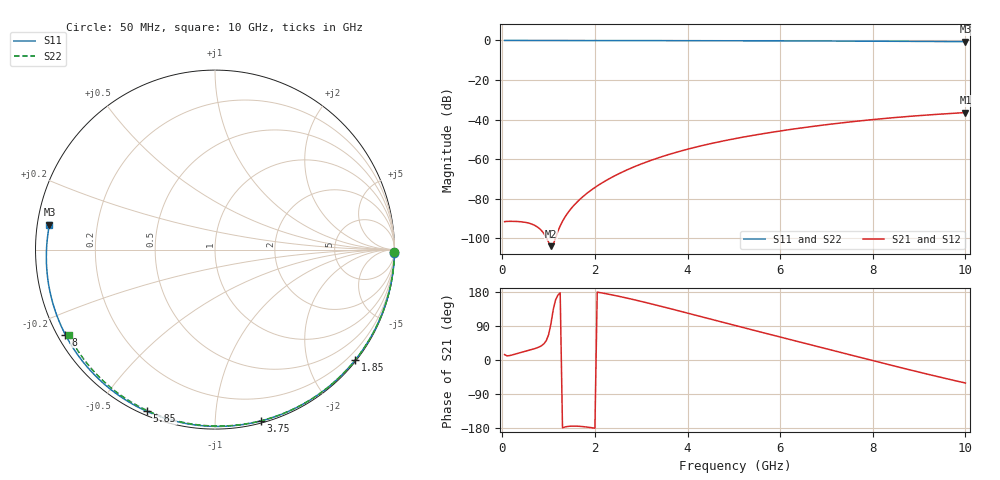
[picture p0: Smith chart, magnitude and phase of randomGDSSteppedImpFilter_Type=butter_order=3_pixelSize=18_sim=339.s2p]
! freq	dB(S11)	phase(S11)	dB(S12)	phase(S12)
!  dB(S21)	phase(S21)	dB(S22)	phase(S22)
!S-par simulation data
#  GHz  S  DB  R 50
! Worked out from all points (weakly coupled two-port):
!   200 points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, 50 MHz to 10 GHz, reference 50 ohm
!   highest |S21| = -36.49 dB at 10 GHz (marker M1); lowest = -104.1 dB at 1.05 GHz (marker M2)
!   lowest |S11| = -0.6 dB at 10 GHz (marker M3), VSWR 28.75, Z = 1.75 + j3.72 ohm
!   |S11| at or under -10 dB: nowhere
!   |S22| runs from -0.5 to 0.0 dB; largest |S21 - S12| = 0
!   S11 on the Smith chart (normalised r, x): 50 MHz: open; 1.85 GHz: 0.03, -2.89; 3.75 GHz: 0.02, -1.30; 5.85 GHz: 0.02, -0.66; 8 GHz: 0.02, -0.26; 10 GHz: 0.03, +0.07
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0.05  -0.00 -1.1  -91.69 14.2  -91.69 14.2  -0.00 -0.9
0.55  -0.01 -11.6  -92.30 24.9  -92.30 24.9  -0.01 -9.6
1.05  -0.03 -21.9  -104.10 95.2  -104.10 95.2  -0.02 -18.1
1.65  -0.04 -34.2  -80.95 -174.9  -80.95 -174.9  -0.04 -28.3
1.7  -0.04 -35.2  -79.87 -175.3  -79.87 -175.3  -0.04 -29.2
1.75  -0.05 -36.2  -78.84 -175.9  -78.84 -175.9  -0.04 -30.0
1.85  -0.05 -38.2  -76.94 -177.3  -76.94 -177.3  -0.04 -31.7
2.15  -0.06 -44.2  -72.13 177.0  -72.13 177.0  -0.05 -36.7
2.5  -0.07 -51.2  -67.63 168.5  -67.63 168.5  -0.05 -42.4
2.9  -0.08 -59.0  -63.43 157.5  -63.43 157.5  -0.06 -48.9
3.4  -0.09 -68.5  -59.15 142.6  -59.15 142.6  -0.08 -56.9
3.75  -0.10 -75.1  -56.64 131.7  -56.64 131.7  -0.08 -62.4
4.4  -0.13 -87.1  -52.73 111.0  -52.73 111.0  -0.10 -72.4
5.05  -0.15 -98.8  -49.56 90.4  -49.56 90.4  -0.13 -82.1
5.85  -0.19 -112.9  -46.35 65.3  -46.35 65.3  -0.16 -93.7
6.7  -0.25 -127.6  -43.50 38.9  -43.50 38.9  -0.21 -105.6
7.35  -0.30 -138.9  -41.64 18.7  -41.64 18.7  -0.25 -114.5
8  -0.36 -150.4  -40.03 -1.6  -40.03 -1.6  -0.30 -123.2
8.35  -0.40 -156.7  -39.27 -12.3  -39.27 -12.3  -0.33 -127.9
9.2  -0.50 -172.5  -37.69 -37.9  -37.69 -37.9  -0.41 -139.1
9.6  -0.55 179.6  -37.06 -49.5  -37.06 -49.5  -0.46 -144.5
10  -0.60 171.5  -36.49 -60.7  -36.49 -60.7  -0.51 -149.9
